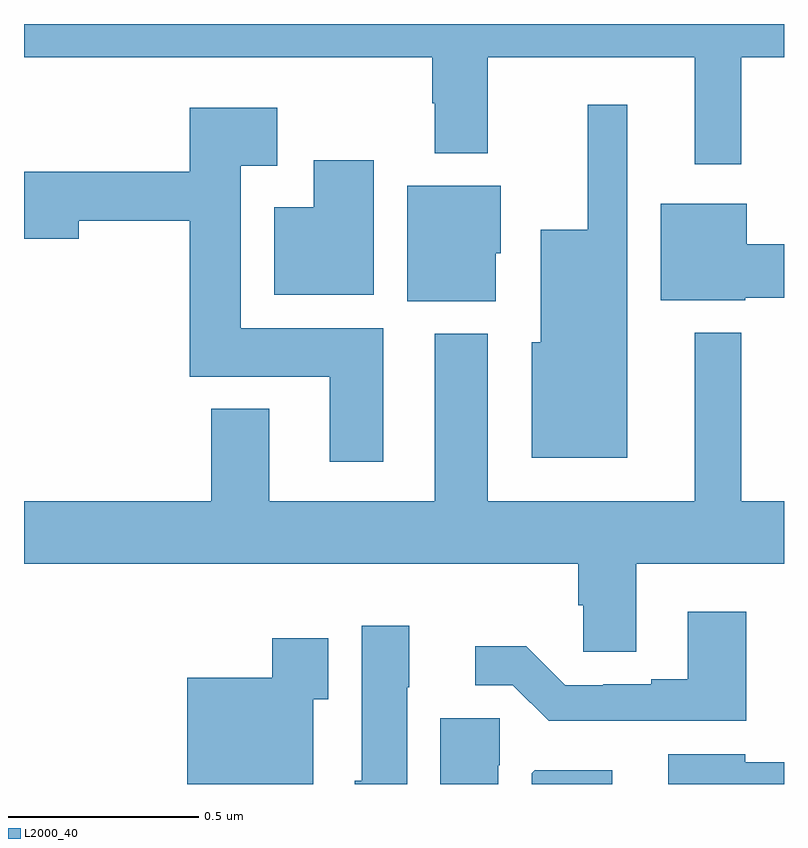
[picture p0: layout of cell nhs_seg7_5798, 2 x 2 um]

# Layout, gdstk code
import gdstk
lib = gdstk.Library(unit=1e-6, precision=1e-09)
def P(c, l, *ps):  # polygons
    for p in ps: c.add(gdstk.Polygon(p, *l))
L2000_40 = (2000, 40)

nhs_seg7_5798 = lib.new_cell('nhs_seg7_5798')
P(nhs_seg7_5798, L2000_40, [(191.887,1037.912),(192,1037.912),(192,1038),(190,1038),(190,1037.912),(191.074,1037.912),(191.074,1037.792),(191.081,1037.792),(191.081,1037.66),(191.221,1037.66),(191.221,1037.912),(191.765,1037.912),(191.765,1037.631),(191.887,1037.631)],
  [(191.587,1037.788),(191.483,1037.788),(191.483,1037.458),(191.36,1037.458),(191.36,1037.163),(191.336,1037.163),(191.336,1036.859),(191.587,1036.859)],
  [(190.945,1037.2),(190.57,1037.2),(190.57,1037.627),(190.666,1037.627),(190.666,1037.779),(190.436,1037.779),(190.436,1037.611),(190,1037.611),(190,1037.435),(190.144,1037.435),(190.144,1037.482),(190.436,1037.482),(190.436,1037.072),(190.805,1037.072),(190.805,1036.848),(190.945,1036.848)],
  [(190.921,1037.641),(190.763,1037.641),(190.763,1037.518),(190.658,1037.518),(190.658,1037.288),(190.921,1037.288)],
  [(191.242,1037.397),(191.254,1037.397),(191.254,1037.575),(191.009,1037.575),(191.009,1037.27),(191.242,1037.27)],
  [(191.898,1037.279),(192,1037.279),(192,1037.421),(191.902,1037.421),(191.902,1037.527),(191.675,1037.527),(191.675,1037.273),(191.898,1037.273)],
  [(191.611,1036.58),(192,1036.58),(192,1036.744),(191.887,1036.744),(191.887,1037.188),(191.765,1037.188),(191.765,1036.744),(191.221,1036.744),(191.221,1037.185),(191.081,1037.185),(191.081,1036.744),(190.645,1036.744),(190.645,1036.987),(190.493,1036.987),(190.493,1036.744),(190,1036.744),(190,1036.58),(191.459,1036.58),(191.459,1036.47),(191.472,1036.47),(191.472,1036.348),(191.611,1036.348)],
  [(191.9,1036.453),(191.747,1036.453),(191.747,1036.276),(191.651,1036.276),(191.651,1036.263),(191.524,1036.263),(191.524,1036.26),(191.424,1036.26),(191.322,1036.363),(191.187,1036.363),(191.187,1036.26),(191.286,1036.26),(191.381,1036.166),(191.9,1036.166)],
  [(191.008,1036.254),(191.014,1036.254),(191.014,1036.417),(190.889,1036.417),(190.889,1036.008),(190.871,1036.008),(190.871,1036),(191.008,1036)],
  [(190.761,1036.223),(190.801,1036.223),(190.801,1036.384),(190.653,1036.384),(190.653,1036.279),(190.43,1036.279),(190.43,1036),(190.761,1036)],
  [(191.248,1036.05),(191.252,1036.05),(191.252,1036.173),(191.096,1036.173),(191.096,1036),(191.248,1036)],
  [(192,1036.057),(191.898,1036.057),(191.898,1036.078),(191.696,1036.078),(191.696,1036),(192,1036)],
  [(191.548,1036.036),(191.344,1036.036),(191.336,1036.028),(191.336,1036),(191.548,1036)])

lib.write_gds('nhs_seg7_5798.gds')
